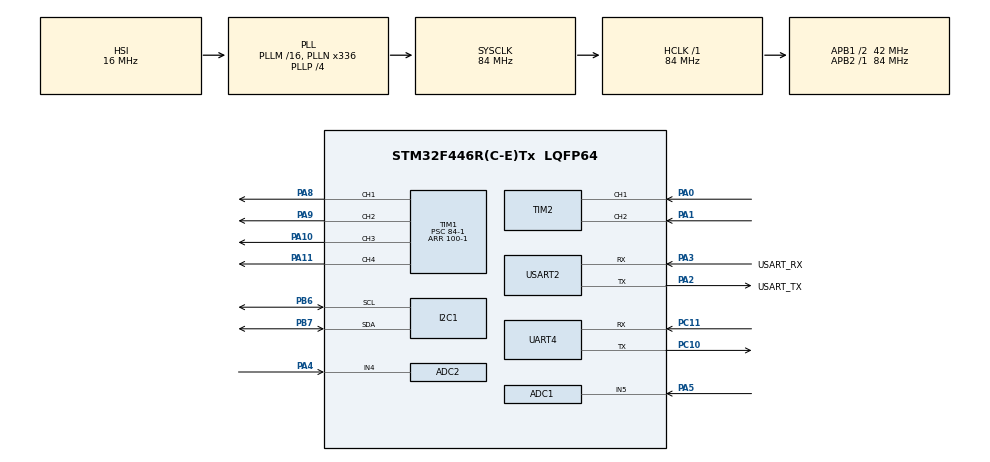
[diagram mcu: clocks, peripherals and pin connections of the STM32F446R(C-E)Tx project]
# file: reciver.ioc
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ADC1.Channel-5\#ChannelRegularConversion=ADC_CHANNEL_5
ADC1.ContinuousConvMode=DISABLE
ADC1.DMAContinuousRequests=DISABLE
ADC1.NbrOfConversion=1
ADC1.NbrOfConversionFlag=1
ADC1.Rank-5\#ChannelRegularConversion=1
ADC1.SamplingTime-5\#ChannelRegularConversion=ADC_SAMPLETIME_3CYCLES
ADC1.ScanConvMode=DISABLE
ADC1.master=1
ADC2.Channel-0\#ChannelRegularConversion=ADC_CHANNEL_4
ADC2.NbrOfConversionFlag=1
ADC2.Rank-0\#ChannelRegularConversion=1
ADC2.SamplingTime-0\#ChannelRegularConversion=ADC_SAMPLETIME_3CYCLES
Mcu.Family=STM32F4
Mcu.Name=STM32F446R(C-E)Tx
Mcu.Package=LQFP64
NVIC.ADC_IRQn=true\:0\:1\:false\:false\:true\:true\:true\:true
NVIC.PriorityGroup=NVIC_PRIORITYGROUP_0
NVIC.TIM1_UP_TIM10_IRQn=true\:0\:0\:true\:false\:true\:true\:true\:true
NVIC.TIM2_IRQn=true\:0\:0\:false\:false\:true\:true\:true\:true
NVIC.UART4_IRQn=true\:0\:0\:false\:false\:true\:true\:true\:true
NVIC.USART2_IRQn=true\:0\:0\:false\:false\:true\:true\:true\:true
PA0-WKUP.Signal=S_TIM2_CH1_ETR
PA1.Signal=S_TIM2_CH2
PA10.Signal=S_TIM1_CH3
PA11.Signal=S_TIM1_CH4
PA13.GPIO_Label=TMS
PA13.Mode=Serial_Wire
PA13.Signal=SYS_JTMS-SWDIO
PA14.GPIO_Label=TCK
PA14.Mode=Serial_Wire
PA14.Signal=SYS_JTCK-SWCLK
PA2.GPIO_Label=USART_TX
PA2.Mode=Asynchronous
PA2.Signal=USART2_TX
PA3.GPIO_Label=USART_RX
PA3.Mode=Asynchronous
PA3.Signal=USART2_RX
PA4.Signal=ADCx_IN4
PA5.Signal=ADCx_IN5
PA8.Signal=S_TIM1_CH1
PA9.Signal=S_TIM1_CH2
PB3.GPIO_Label=SWO
PB3.Signal=SYS_JTDO-SWO
PB6.Mode=I2C
PB6.Signal=I2C1_SCL
PB7.Mode=I2C
PB7.Signal=I2C1_SDA
PC10.Mode=Asynchronous
PC10.Signal=UART4_TX
PC11.Mode=Asynchronous
PC11.Signal=UART4_RX
PC14-OSC32_IN.Mode=LSE-External-Oscillator
PC14-OSC32_IN.Signal=RCC_OSC32_IN
PC15-OSC32_OUT.Mode=LSE-External-Oscillator
PC15-OSC32_OUT.Signal=RCC_OSC32_OUT
PH0-OSC_IN.Mode=HSE-External-Oscillator
PH0-OSC_IN.Signal=RCC_OSC_IN
PH1-OSC_OUT.Mode=HSE-External-Oscillator
PH1-OSC_OUT.Signal=RCC_OSC_OUT
ProjectManager.HeapSize=0x200
ProjectManager.StackSize=0x400
ProjectManager.TargetToolchain=STM32CubeIDE
RCC.48MHZClocksFreq_Value=84000000
RCC.AHBFreq_Value=84000000
RCC.APB1CLKDivider=RCC_HCLK_DIV2
RCC.APB1Freq_Value=42000000
RCC.APB1TimFreq_Value=84000000
RCC.APB2Freq_Value=84000000
RCC.APB2TimFreq_Value=84000000
RCC.CortexFreq_Value=84000000
RCC.FLatency-AdvancedSettings=FLASH_LATENCY_2
RCC.HCLKFreq_Value=84000000
RCC.HSE_VALUE=8000000
RCC.HSI_VALUE=16000000
RCC.PLLN=336
RCC.PLLP=RCC_PLLP_DIV4
RCC.SYSCLKFreq_VALUE=84000000
RCC.SYSCLKSource=RCC_SYSCLKSOURCE_PLLCLK
RCC.USBFreq_Value=168000000
RCC.VCOOutputFreq_Value=336000000
SH.ADCx_IN4.0=ADC1_IN4
SH.ADCx_IN4.1=ADC2_IN4,IN4
SH.ADCx_IN5.0=ADC1_IN5,IN5
SH.S_TIM1_CH1.0=TIM1_CH1,PWM Generation1 CH1
SH.S_TIM1_CH2.0=TIM1_CH2,PWM Generation2 CH2
SH.S_TIM1_CH3.0=TIM1_CH3,PWM Generation3 CH3
SH.S_TIM1_CH4.0=TIM1_CH4,PWM Generation4 CH4
SH.S_TIM2_CH1_ETR.0=TIM2_CH1,Encoder_Interface
SH.S_TIM2_CH2.0=TIM2_CH2,Encoder_Interface
TIM1.Channel-PWM\ Generation1\ CH1=TIM_CHANNEL_1
TIM1.Channel-PWM\ Generation2\ CH2=TIM_CHANNEL_2
TIM1.Channel-PWM\ Generation3\ CH3=TIM_CHANNEL_3
TIM1.Channel-PWM\ Generation4\ CH4=TIM_CHANNEL_4
TIM1.Period=100-1
TIM1.Prescaler=84-1
TIM10.AutoReloadPreload=TIM_AUTORELOAD_PRELOAD_DISABLE
TIM10.Period=250
TIM10.Prescaler=8399
UART4.VirtualMode=Asynchronous
USART2.VirtualMode=VM_ASYNC
VP_TIM10_VS_ClockSourceINT.Mode=Enable_Timer
board=NUCLEO-F446RE

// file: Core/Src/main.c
/* USER CODE BEGIN Header */
/**
  ******************************************************************************
  * @file           : main.c
  * @brief          : Main program body
  ******************************************************************************
  * @attention
  *
  * Copyright (c) 2023 STMicroelectronics.
  * All rights reserved.
  *
  * This software is licensed under terms that can be found in the LICENSE file
  * in the root directory of this software component.
  * If no LICENSE file comes with this software, it is provided AS-IS.
  *
  ******************************************************************************
  */
/* USER CODE END Header */
#include "main.h"

/* USER CODE BEGIN Includes */

#include "apps/timers/timers.h"
#include "apps/variables/variables.h"
/* USER CODE END Includes */

ADC_HandleTypeDef hadc1;
ADC_HandleTypeDef hadc2;

I2C_HandleTypeDef hi2c1;

TIM_HandleTypeDef htim1;
TIM_HandleTypeDef htim2;
TIM_HandleTypeDef htim10;

UART_HandleTypeDef huart4;
UART_HandleTypeDef huart2;

void SystemClock_Config(void);
static void MX_GPIO_Init(void);
static void MX_USART2_UART_Init(void);
static void MX_TIM2_Init(void);
static void MX_UART4_Init(void);
static void MX_ADC1_Init(void);
static void MX_I2C1_Init(void);
static void MX_TIM1_Init(void);
static void MX_TIM10_Init(void);
static void MX_ADC2_Init(void);

/* USER CODE BEGIN 0 */
int adc_val ;
uint8_t datos[10] ;
uint8_t datoss[10] ;
uint32_t valores[2] = {0,0};
char flag =1;
char selecionado =0;
uint8_t data[10] ;
int a=0;
void HAL_UART_TxCpltCallback(UART_HandleTypeDef* huart){

	if(huart==&huart4){
	datos[0] = 0;
	datos[1] = (getPedal() >> 8) ;
	datos[2] = getPedal() ;
	datos[3] = getCambio();;
	datos[4] = (getAngulo() >> 8);
	datos[5] = getAngulo();
	datos[6] = 10;
	datos[7] = 13;
	HAL_UART_Transmit_IT(&huart4, datos,8);

}
if(huart==&huart2){

	flag =1;
}

}
void HAL_UART_RxCpltCallback(UART_HandleTypeDef *huart)
{
	if(huart == &huart2){
		if (data[0]==7 | data[0]=='7'){
			setCambio(1);
		}
		else if (data[0]==8 | data[0]=='8'){
			setCambio(0);
		}
		else if (data[0]==9 | data[0]=='9'){
			setCambio(2);
		}

	HAL_UART_Receive_IT(&huart2, data, 1);
	}

}

void HAL_TIM_IC_CaptureCallback(TIM_HandleTypeDef *htim){
	 a= __HAL_TIM_GET_COUNTER(htim);
	 setAngulo(a);
}

void HAL_ADC_ConvCpltCallback(ADC_HandleTypeDef* hadc)
{
  if (hadc==&hadc2){
	  setVolante(HAL_ADC_GetValue(&hadc2));

  }
  if (hadc==&hadc1){
	  setPedal(HAL_ADC_GetValue(&hadc1));

  }
  /*If continuousconversion mode is DISABLED uncomment below*/
  //HAL_ADC_Start_IT (&hadc1);
}

/* USER CODE END 0 */

int main(void)
{

  /* MCU Configuration--------------------------------------------------------*/

  /* Reset of all peripherals, Initializes the Flash interface and the Systick. */

	HAL_Init();

  /* Configure the system clock */
  SystemClock_Config();

  /* Initialize all configured peripherals */
  MX_GPIO_Init();
  MX_USART2_UART_Init();
  MX_TIM2_Init();
  MX_UART4_Init();
  MX_ADC1_Init();
  MX_I2C1_Init();
  MX_TIM1_Init();
  MX_TIM10_Init();
  MX_ADC2_Init();
  /* USER CODE BEGIN 2 */

  HAL_UART_Transmit_IT(&huart4, datos,8);
  HAL_UART_Transmit_IT(&huart2, datoss,6);
  HAL_ADC_Start_IT(&hadc1);
  HAL_ADC_Start_IT (&hadc2);
  HAL_TIM_Base_Start_IT(&htim10); //timer para mandar datos
  HAL_TIM_Encoder_Start_IT(&htim2, TIM_CHANNEL_ALL);
  HAL_UART_Receive_IT(&huart2, data, 1);

  /* USER CODE END 2 */

  /* Infinite loop */
  while (1)
  {

  }
}

void SystemClock_Config(void)
{
  RCC_OscInitTypeDef RCC_OscInitStruct = {0};
  RCC_ClkInitTypeDef RCC_ClkInitStruct = {0};

  /** Configure the main internal regulator output voltage
  */
  __HAL_RCC_PWR_CLK_ENABLE();
  __HAL_PWR_VOLTAGESCALING_CONFIG(PWR_REGULATOR_VOLTAGE_SCALE3);

  /** Initializes the RCC Oscillators according to the specified parameters
  * in the RCC_OscInitTypeDef structure.
  */
  RCC_OscInitStruct.OscillatorType = RCC_OSCILLATORTYPE_HSI;
  RCC_OscInitStruct.HSIState = RCC_HSI_ON;
  RCC_OscInitStruct.HSICalibrationValue = RCC_HSICALIBRATION_DEFAULT;
  RCC_OscInitStruct.PLL.PLLState = RCC_PLL_ON;
  RCC_OscInitStruct.PLL.PLLSource = RCC_PLLSOURCE_HSI;
  RCC_OscInitStruct.PLL.PLLM = 16;
  RCC_OscInitStruct.PLL.PLLN = 336;
  RCC_OscInitStruct.PLL.PLLP = RCC_PLLP_DIV4;
  RCC_OscInitStruct.PLL.PLLQ = 2;
  RCC_OscInitStruct.PLL.PLLR = 2;
  if (HAL_RCC_OscConfig(&RCC_OscInitStruct) != HAL_OK)
  {
    Error_Handler();
  }

  /** Initializes the CPU, AHB and APB buses clocks
  */
  RCC_ClkInitStruct.ClockType = RCC_CLOCKTYPE_HCLK|RCC_CLOCKTYPE_SYSCLK
                              |RCC_CLOCKTYPE_PCLK1|RCC_CLOCKTYPE_PCLK2;
  RCC_ClkInitStruct.SYSCLKSource = RCC_SYSCLKSOURCE_PLLCLK;
  RCC_ClkInitStruct.AHBCLKDivider = RCC_SYSCLK_DIV1;
  RCC_ClkInitStruct.APB1CLKDivider = RCC_HCLK_DIV2;
  RCC_ClkInitStruct.APB2CLKDivider = RCC_HCLK_DIV1;

  if (HAL_RCC_ClockConfig(&RCC_ClkInitStruct, FLASH_LATENCY_2) != HAL_OK)
  {
    Error_Handler();
  }
}

static void MX_ADC1_Init(void)
{

  ADC_ChannelConfTypeDef sConfig = {0};

  /** Configure the global features of the ADC (Clock, Resolution, Data Alignment and number of conversion)
  */
  hadc1.Instance = ADC1;
  hadc1.Init.ClockPrescaler = ADC_CLOCK_SYNC_PCLK_DIV4;
  hadc1.Init.Resolution = ADC_RESOLUTION_12B;
  hadc1.Init.ScanConvMode = DISABLE;
  hadc1.Init.ContinuousConvMode = DISABLE;
  hadc1.Init.DiscontinuousConvMode = DISABLE;
  hadc1.Init.ExternalTrigConvEdge = ADC_EXTERNALTRIGCONVEDGE_NONE;
  hadc1.Init.ExternalTrigConv = ADC_SOFTWARE_START;
  hadc1.Init.DataAlign = ADC_DATAALIGN_RIGHT;
  hadc1.Init.NbrOfConversion = 1;
  hadc1.Init.DMAContinuousRequests = DISABLE;
  hadc1.Init.EOCSelection = ADC_EOC_SINGLE_CONV;
  if (HAL_ADC_Init(&hadc1) != HAL_OK)
  {
    Error_Handler();
  }

  /** Configure for the selected ADC regular channel its corresponding rank in the sequencer and its sample time.
  */
  sConfig.Channel = ADC_CHANNEL_5;
  sConfig.Rank = 1;
  sConfig.SamplingTime = ADC_SAMPLETIME_3CYCLES;
  if (HAL_ADC_ConfigChannel(&hadc1, &sConfig) != HAL_OK)
  {
    Error_Handler();
  }

}

static void MX_ADC2_Init(void)
{

  ADC_ChannelConfTypeDef sConfig = {0};

  /** Configure the global features of the ADC (Clock, Resolution, Data Alignment and number of conversion)
  */
  hadc2.Instance = ADC2;
  hadc2.Init.ClockPrescaler = ADC_CLOCK_SYNC_PCLK_DIV4;
  hadc2.Init.Resolution = ADC_RESOLUTION_12B;
  hadc2.Init.ScanConvMode = DISABLE;
  hadc2.Init.ContinuousConvMode = DISABLE;
  hadc2.Init.DiscontinuousConvMode = DISABLE;
  hadc2.Init.ExternalTrigConvEdge = ADC_EXTERNALTRIGCONVEDGE_NONE;
  hadc2.Init.ExternalTrigConv = ADC_SOFTWARE_START;
  hadc2.Init.DataAlign = ADC_DATAALIGN_RIGHT;
  hadc2.Init.NbrOfConversion = 1;
  hadc2.Init.DMAContinuousRequests = DISABLE;
  hadc2.Init.EOCSelection = ADC_EOC_SINGLE_CONV;
  if (HAL_ADC_Init(&hadc2) != HAL_OK)
  {
    Error_Handler();
  }

  /** Configure for the selected ADC regular channel its corresponding rank in the sequencer and its sample time.
  */
  sConfig.Channel = ADC_CHANNEL_4;
  sConfig.Rank = 1;
  sConfig.SamplingTime = ADC_SAMPLETIME_3CYCLES;
  if (HAL_ADC_ConfigChannel(&hadc2, &sConfig) != HAL_OK)
  {
    Error_Handler();
  }

}

static void MX_I2C1_Init(void)
{

  hi2c1.Instance = I2C1;
  hi2c1.Init.ClockSpeed = 100000;
  hi2c1.Init.DutyCycle = I2C_DUTYCYCLE_2;
  hi2c1.Init.OwnAddress1 = 0;
  hi2c1.Init.AddressingMode = I2C_ADDRESSINGMODE_7BIT;
  hi2c1.Init.DualAddressMode = I2C_DUALADDRESS_DISABLE;
  hi2c1.Init.OwnAddress2 = 0;
  hi2c1.Init.GeneralCallMode = I2C_GENERALCALL_DISABLE;
  hi2c1.Init.NoStretchMode = I2C_NOSTRETCH_DISABLE;
  if (HAL_I2C_Init(&hi2c1) != HAL_OK)
  {
    Error_Handler();
  }

}

static void MX_TIM1_Init(void)
{

  TIM_MasterConfigTypeDef sMasterConfig = {0};
  TIM_OC_InitTypeDef sConfigOC = {0};
  TIM_BreakDeadTimeConfigTypeDef sBreakDeadTimeConfig = {0};

  htim1.Instance = TIM1;
  htim1.Init.Prescaler = 84-1;
  htim1.Init.CounterMode = TIM_COUNTERMODE_UP;
  htim1.Init.Period = 100-1;
  htim1.Init.ClockDivision = TIM_CLOCKDIVISION_DIV1;
  htim1.Init.RepetitionCounter = 0;
  htim1.Init.AutoReloadPreload = TIM_AUTORELOAD_PRELOAD_DISABLE;
  if (HAL_TIM_PWM_Init(&htim1) != HAL_OK)
  {
    Error_Handler();
  }
  sMasterConfig.MasterOutputTrigger = TIM_TRGO_RESET;
  sMasterConfig.MasterSlaveMode = TIM_MASTERSLAVEMODE_DISABLE;
  if (HAL_TIMEx_MasterConfigSynchronization(&htim1, &sMasterConfig) != HAL_OK)
  {
    Error_Handler();
  }
  sConfigOC.OCMode = TIM_OCMODE_PWM1;
  sConfigOC.Pulse = 0;
  sConfigOC.OCPolarity = TIM_OCPOLARITY_HIGH;
  sConfigOC.OCNPolarity = TIM_OCNPOLARITY_HIGH;
  sConfigOC.OCFastMode = TIM_OCFAST_DISABLE;
  sConfigOC.OCIdleState = TIM_OCIDLESTATE_RESET;
  sConfigOC.OCNIdleState = TIM_OCNIDLESTATE_RESET;
  if (HAL_TIM_PWM_ConfigChannel(&htim1, &sConfigOC, TIM_CHANNEL_1) != HAL_OK)
  {
    Error_Handler();
  }
  if (HAL_TIM_PWM_ConfigChannel(&htim1, &sConfigOC, TIM_CHANNEL_2) != HAL_OK)
  {
    Error_Handler();
  }
  if (HAL_TIM_PWM_ConfigChannel(&htim1, &sConfigOC, TIM_CHANNEL_3) != HAL_OK)
  {
    Error_Handler();
  }
  if (HAL_TIM_PWM_ConfigChannel(&htim1, &sConfigOC, TIM_CHANNEL_4) != HAL_OK)
  {
    Error_Handler();
  }
  sBreakDeadTimeConfig.OffStateRunMode = TIM_OSSR_DISABLE;
  sBreakDeadTimeConfig.OffStateIDLEMode = TIM_OSSI_DISABLE;
  sBreakDeadTimeConfig.LockLevel = TIM_LOCKLEVEL_OFF;
  sBreakDeadTimeConfig.DeadTime = 0;
  sBreakDeadTimeConfig.BreakState = TIM_BREAK_DISABLE;
  sBreakDeadTimeConfig.BreakPolarity = TIM_BREAKPOLARITY_HIGH;
  sBreakDeadTimeConfig.AutomaticOutput = TIM_AUTOMATICOUTPUT_DISABLE;
  if (HAL_TIMEx_ConfigBreakDeadTime(&htim1, &sBreakDeadTimeConfig) != HAL_OK)
  {
    Error_Handler();
  }
  HAL_TIM_MspPostInit(&htim1);

}

static void MX_TIM2_Init(void)
{

  TIM_Encoder_InitTypeDef sConfig = {0};
  TIM_MasterConfigTypeDef sMasterConfig = {0};

  htim2.Instance = TIM2;
  htim2.Init.Prescaler = 0;
  htim2.Init.CounterMode = TIM_COUNTERMODE_UP;
  htim2.Init.Period = 4294967295;
  htim2.Init.ClockDivision = TIM_CLOCKDIVISION_DIV1;
  htim2.Init.AutoReloadPreload = TIM_AUTORELOAD_PRELOAD_DISABLE;
  sConfig.EncoderMode = TIM_ENCODERMODE_TI1;
  sConfig.IC1Polarity = TIM_ICPOLARITY_RISING;
  sConfig.IC1Selection = TIM_ICSELECTION_DIRECTTI;
  sConfig.IC1Prescaler = TIM_ICPSC_DIV1;
  sConfig.IC1Filter = 0;
  sConfig.IC2Polarity = TIM_ICPOLARITY_RISING;
  sConfig.IC2Selection = TIM_ICSELECTION_DIRECTTI;
  sConfig.IC2Prescaler = TIM_ICPSC_DIV1;
  sConfig.IC2Filter = 0;
  if (HAL_TIM_Encoder_Init(&htim2, &sConfig) != HAL_OK)
  {
    Error_Handler();
  }
  sMasterConfig.MasterOutputTrigger = TIM_TRGO_RESET;
  sMasterConfig.MasterSlaveMode = TIM_MASTERSLAVEMODE_DISABLE;
  if (HAL_TIMEx_MasterConfigSynchronization(&htim2, &sMasterConfig) != HAL_OK)
  {
    Error_Handler();
  }

}

static void MX_TIM10_Init(void)
{

  htim10.Instance = TIM10;
  htim10.Init.Prescaler = 8399;
  htim10.Init.CounterMode = TIM_COUNTERMODE_UP;
  htim10.Init.Period = 250;
  htim10.Init.ClockDivision = TIM_CLOCKDIVISION_DIV1;
  htim10.Init.AutoReloadPreload = TIM_AUTORELOAD_PRELOAD_DISABLE;
  if (HAL_TIM_Base_Init(&htim10) != HAL_OK)
  {
    Error_Handler();
  }

}

static void MX_UART4_Init(void)
{

  huart4.Instance = UART4;
  huart4.Init.BaudRate = 115200;
  huart4.Init.WordLength = UART_WORDLENGTH_8B;
  huart4.Init.StopBits = UART_STOPBITS_1;
  huart4.Init.Parity = UART_PARITY_NONE;
  huart4.Init.Mode = UART_MODE_TX_RX;
  huart4.Init.HwFlowCtl = UART_HWCONTROL_NONE;
  huart4.Init.OverSampling = UART_OVERSAMPLING_16;
  if (HAL_UART_Init(&huart4) != HAL_OK)
  {
    Error_Handler();
  }

}

static void MX_USART2_UART_Init(void)
{

  huart2.Instance = USART2;
  huart2.Init.BaudRate = 115200;
  huart2.Init.WordLength = UART_WORDLENGTH_8B;
  huart2.Init.StopBits = UART_STOPBITS_1;
  huart2.Init.Parity = UART_PARITY_NONE;
  huart2.Init.Mode = UART_MODE_TX_RX;
  huart2.Init.HwFlowCtl = UART_HWCONTROL_NONE;
  huart2.Init.OverSampling = UART_OVERSAMPLING_16;
  if (HAL_UART_Init(&huart2) != HAL_OK)
  {
    Error_Handler();
  }

}

static void MX_GPIO_Init(void)
{

  /* GPIO Ports Clock Enable */
  __HAL_RCC_GPIOC_CLK_ENABLE();
  __HAL_RCC_GPIOH_CLK_ENABLE();
  __HAL_RCC_GPIOA_CLK_ENABLE();
  __HAL_RCC_GPIOB_CLK_ENABLE();

}

void Error_Handler(void)
{
  __disable_irq();
  while (1)
  {
  }
}
